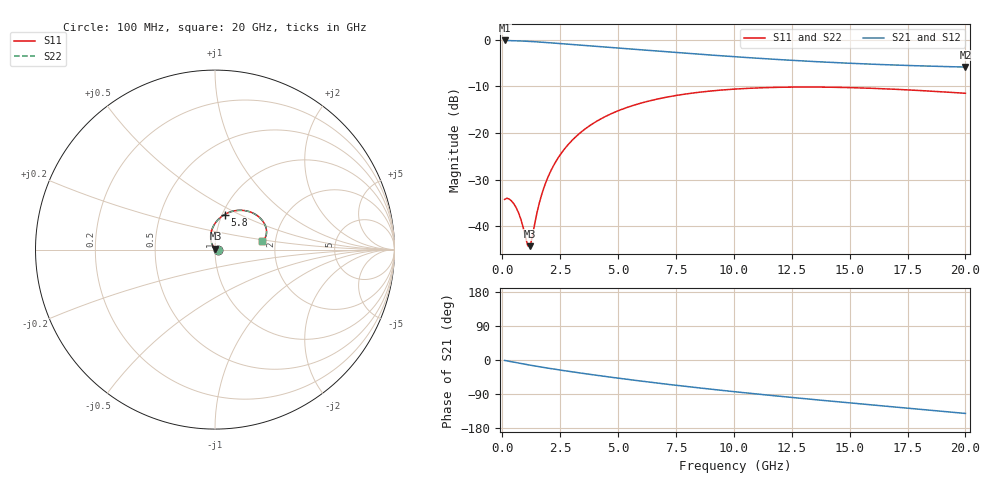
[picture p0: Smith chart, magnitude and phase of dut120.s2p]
! Created with skrf 1.9.0 (http://scikit-rf.org).
# GHz S RI R 50.0
!freq ReS11 ImS11 ReS21 ImS21 ReS12 ImS12 ReS22 ImS22
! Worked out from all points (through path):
!   200 points, 100 MHz to 20 GHz, reference 50 ohm
!   highest |S21| = -0.17 dB at 100 MHz (marker M1); lowest = -5.9 dB at 20 GHz (marker M2)
!   group delay of S21, straight-line fit = 18.7 ps
!   lowest |S11| = -44.2 dB at 1.2 GHz (marker M3), VSWR 1.01, Z = 50.2 + j0.571 ohm
!   |S11| at or under -10 dB: start of sweep to end of sweep
!   |S22| runs from -44.2 to -10.2 dB; largest |S21 - S12| = 2.1e-15
!   S11 on the Smith chart (normalised r, x): 100 MHz: 1.04, -0.00; 5.8 GHz: 1.03, +0.42; 20 GHz: 1.70, +0.18
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0.1  0.0195 -0.00022  0.98 -0.02  0.98 -0.02  0.0195 -0.00022
0.3  0.0196 -0.000874  0.9756 -0.0595  0.9756 -0.0595  0.0196 -0.000874
0.6  0.0158 -0.000834  0.9656 -0.1173  0.9656 -0.1173  0.0158 -0.000834
0.8  0.012 0.000216  0.9559 -0.1545  0.9559 -0.1545  0.012 0.000216
1.1  0.00487 0.00386  0.9373 -0.2074  0.9373 -0.2074  0.00487 0.00386
1.2  0.00232 0.00568  0.9302 -0.2243  0.9302 -0.2243  0.00232 0.00568
1.5  -0.00536 0.013  0.9066 -0.2723  0.9066 -0.2723  -0.00536 0.013
1.6  -0.00782 0.016  0.8981 -0.2875  0.8981 -0.2875  -0.00782 0.016
1.8  -0.0124 0.0229  0.8803 -0.3165  0.8803 -0.3165  -0.0124 0.0229
2  -0.0164 0.0308  0.8617 -0.3439  0.8617 -0.3439  -0.0164 0.0308
2.3  -0.021 0.0441  0.8325 -0.382  0.8325 -0.382  -0.021 0.0441
2.6  -0.0236 0.0587  0.8021 -0.4168  0.8021 -0.4168  -0.0236 0.0587
3  -0.0239 0.0793  0.7606 -0.4586  0.7606 -0.4586  -0.0239 0.0793
3.5  -0.0191 0.1052  0.7075 -0.5042  0.7075 -0.5042  -0.0191 0.1052
4.5  0.0047 0.1522  0.5995 -0.576  0.5995 -0.576  0.0047 0.1522
5.8  0.0536 0.1954  0.4601 -0.6364  0.4601 -0.6364  0.0536 0.1954
6.8  0.0965 0.2132  0.3571 -0.6615  0.3571 -0.6615  0.0965 0.2132
8.3  0.1583 0.2181  0.2146 -0.6711  0.2146 -0.6711  0.1583 0.2181
10.1  0.2183 0.2  0.0668 -0.6513  0.0668 -0.6513  0.2183 0.2
13.4  0.2781 0.1384  -0.1416 -0.5664  -0.1416 -0.5664  0.2781 0.1384
16.7  0.285 0.0804  -0.2898 -0.4525  -0.2898 -0.4525  0.285 0.0804
20  0.2618 0.0486  -0.3952 -0.32  -0.3952 -0.32  0.2618 0.0486
